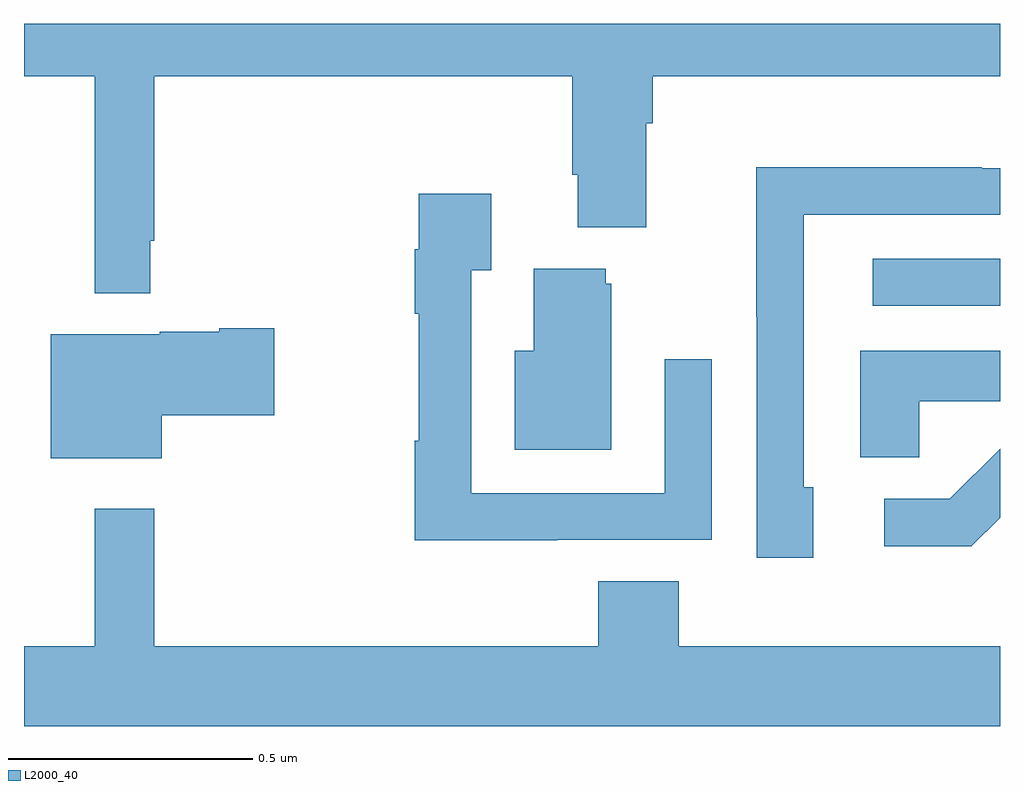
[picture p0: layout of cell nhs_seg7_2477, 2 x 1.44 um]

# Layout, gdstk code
import gdstk
lib = gdstk.Library(unit=1e-6, precision=1e-09)
def R(c, l, rs):  # rectangles x0, y0, x1, y1
    for r in rs: c.add(gdstk.rectangle(r[:2], r[2:], *l))
def P(c, l, *ps):  # polygons
    for p in ps: c.add(gdstk.Polygon(p, *l))
L2000_40 = (2000, 40)

nhs_seg7_2477 = lib.new_cell('nhs_seg7_2477')
R(nhs_seg7_2477, L2000_40, [(146.739,1057.422,147,1057.518)])
P(nhs_seg7_2477, L2000_40, [(145.259,1057.555),(145.267,1057.555),(145.267,1057.892),(146.123,1057.892),(146.123,1057.69),(146.135,1057.69),(146.135,1057.583),(146.275,1057.583),(146.275,1057.796),(146.288,1057.796),(146.288,1057.892),(147,1057.892),(147,1058),(145,1058),(145,1057.892),(145.145,1057.892),(145.145,1057.448),(145.259,1057.448)],
  [(146.617,1057.05),(146.598,1057.05),(146.598,1057.608),(147,1057.608),(147,1057.704),(146.963,1057.704),(146.963,1057.706),(146.5,1057.706),(146.5,1057.399),(146.502,1057.399),(146.502,1056.906),(146.617,1056.906)],
  [(146.093,1056.942),(146.409,1056.942),(146.409,1057.312),(146.313,1057.312),(146.313,1057.038),(145.917,1057.038),(145.917,1057.495),(145.957,1057.495),(145.957,1057.651),(145.809,1057.651),(145.809,1057.538),(145.801,1057.538),(145.801,1057.406),(145.809,1057.406),(145.809,1057.145),(145.801,1057.145),(145.801,1056.941),(146.093,1056.941)],
  [(146.203,1057.467),(146.192,1057.467),(146.192,1057.498),(146.045,1057.498),(146.045,1057.33),(146.006,1057.33),(146.006,1057.127),(146.203,1057.127)],
  [(145.282,1057.198),(145.513,1057.198),(145.513,1057.376),(145.4,1057.376),(145.4,1057.369),(145.278,1057.369),(145.278,1057.363),(145.055,1057.363),(145.055,1057.109),(145.282,1057.109)],
  [(146.835,1057.226),(147,1057.226),(147,1057.33),(146.714,1057.33),(146.714,1057.111),(146.835,1057.111)],
  [(147,1056.987),(147,1057.129),(146.897,1057.026),(146.763,1057.026),(146.763,1056.929),(146.941,1056.929)],
  [(147,1056.724),(146.342,1056.724),(146.342,1056.857),(146.177,1056.857),(146.177,1056.724),(145.267,1056.724),(145.267,1057.006),(145.145,1057.006),(145.145,1056.724),(145,1056.724),(145,1056.56),(147,1056.56)])

lib.write_gds('nhs_seg7_2477.gds')
